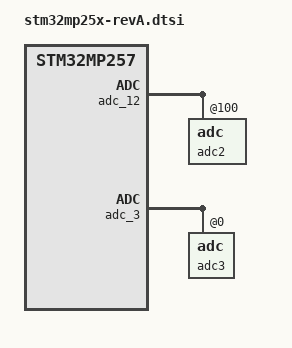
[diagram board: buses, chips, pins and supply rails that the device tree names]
// SPDX-License-Identifier: (GPL-2.0-or-later OR BSD-3-Clause)
/*
 * Copyright (C) STMicroelectronics 2023 - All Rights Reserved
 * Author: Alexandre Torgue <alexandre.torgue@foss.st.com> for STMicroelectronics.
 */

#include "stm32mp257.dtsi"

/ {
};

&adc_12{
	adc2: adc@100 {
		/delete-node/channel@17;
		/delete-node/channel@18;
	};
};

&adc_3 {
	adc3: adc@0 {
		/delete-node/channel@17;
		/delete-node/channel@18;
	};
};

&eth1 {
	/delete-property/snps,mixed-burst;
	snps,fixed-burst;

	/delete-node/stmmac-axi-config;
	stmmac_axi_config_1: stmmac-axi-config {
		snps,wr_osr_lmt = <0x7>;
		snps,rd_osr_lmt = <0x7>;
		snps,blen = <0 0 0 0 0 0 4>;
	};

	/delete-node/tx-queues-config;
	mtl_tx_setup_1: tx-queues-config {
		snps,tx-queues-to-use = <2>;
		queue0 {};
		queue1 {};
	};
};

&eth2 {
	/delete-property/snps,mixed-burst;
	snps,fixed-burst;

	/delete-node/stmmac-axi-config;
	stmmac_axi_config_2: stmmac-axi-config {
		snps,wr_osr_lmt = <0x7>;
		snps,rd_osr_lmt = <0x7>;
		snps,blen = <0 0 0 0 0 0 4>;
	};

	/delete-node/tx-queues-config;
	mtl_tx_setup_2: tx-queues-config {
		snps,tx-queues-to-use = <2>;
		queue0 {};
		queue1 {};
	};
};

&i2c8 {
	/delete-property/dmas;
	/delete-property/dma-names;
};

&ltdc {
	st,burstlen = <32>;
};

&pcie_ep {
	resets = <&scmi_reset RST_SCMI_PCIE>;
};

&pcie_rc {
	resets = <&scmi_reset RST_SCMI_PCIE>;
};

&spi8 {
	/delete-property/dmas;
	/delete-property/dma-names;
};

/delete-node/&timers13;

&vdec {
	maxburstlen = <24>;
};

&venc {
	maxburstlen = <16>;
};
